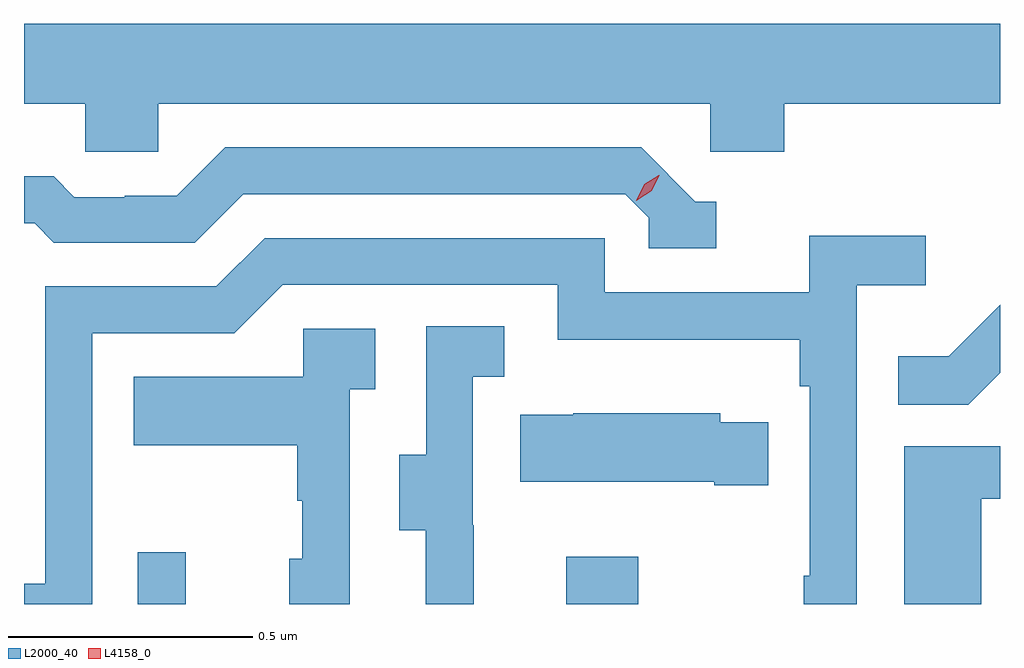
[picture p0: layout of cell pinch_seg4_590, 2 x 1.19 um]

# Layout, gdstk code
import gdstk
lib = gdstk.Library(unit=1e-6, precision=1e-09)
def R(c, l, rs):  # rectangles x0, y0, x1, y1
    for r in rs: c.add(gdstk.rectangle(r[:2], r[2:], *l))
def P(c, l, *ps):  # polygons
    for p in ps: c.add(gdstk.Polygon(p, *l))
L2000_40 = (2000, 40)
L4158_0 = (4158, 0)

pinch_seg4_590 = lib.new_cell('pinch_seg4_590')
R(pinch_seg4_590, L2000_40, [(1044.003,779.811,1044.101,779.917), (1044.881,779.811,1045.029,779.908)])
P(pinch_seg4_590, L2000_40, [(1044.045,780.836),(1045.176,780.836),(1045.176,780.738),(1045.328,780.738),(1045.328,780.836),(1045.77,780.836),(1045.77,781),(1043.77,781),(1043.77,780.836),(1043.895,780.836),(1043.895,780.738),(1044.045,780.738)],
  [(1045.189,780.636),(1045.146,780.636),(1045.035,780.747),(1044.182,780.747),(1044.083,780.648),(1043.976,780.648),(1043.976,780.645),(1043.873,780.645),(1043.831,780.688),(1043.77,780.688),(1043.77,780.591),(1043.792,780.591),(1043.831,780.552),(1044.12,780.552),(1044.219,780.651),(1045.002,780.651),(1045.05,780.603),(1045.05,780.54),(1045.189,780.54)],
  [(1043.91,780.366),(1044.201,780.366),(1044.3,780.465),(1044.864,780.465),(1044.864,780.353),(1045.36,780.353),(1045.36,780.257),(1045.38,780.257),(1045.38,779.869),(1045.368,779.869),(1045.368,779.811),(1045.476,779.811),(1045.476,780.464),(1045.618,780.464),(1045.618,780.566),(1045.379,780.566),(1045.379,780.45),(1044.96,780.45),(1044.96,780.561),(1044.263,780.561),(1044.164,780.462),(1043.814,780.462),(1043.814,779.853),(1043.77,779.853),(1043.77,779.811),(1043.91,779.811)],
  [(1045.77,780.285),(1045.77,780.424),(1045.665,780.319),(1045.561,780.319),(1045.561,780.22),(1045.705,780.22)],
  [(1044.692,779.973),(1044.69,779.973),(1044.69,780.277),(1044.754,780.277),(1044.754,780.38),(1044.594,780.38),(1044.594,780.117),(1044.539,780.117),(1044.539,779.962),(1044.593,779.962),(1044.593,779.811),(1044.692,779.811)],
  [(1044.438,780.251),(1044.49,780.251),(1044.49,780.375),(1044.342,780.375),(1044.342,780.277),(1043.995,780.277),(1043.995,780.137),(1044.33,780.137),(1044.33,780.023),(1044.34,780.023),(1044.34,779.904),(1044.314,779.904),(1044.314,779.811),(1044.438,779.811)],
  [(1045.295,780.184),(1045.197,780.184),(1045.197,780.202),(1044.895,780.202),(1044.895,780.199),(1044.787,780.199),(1044.787,780.062),(1045.184,780.062),(1045.184,780.055),(1045.295,780.055)],
  [(1045.732,780.027),(1045.77,780.027),(1045.77,780.135),(1045.574,780.135),(1045.574,779.811),(1045.732,779.811)])
P(pinch_seg4_590, L4158_0, [(1045.025,780.638),(1045.025,780.638),(1045.041,780.671),(1045.071,780.69),(1045.072,780.69),(1045.072,780.69),(1045.056,780.658),(1045.025,780.638)])

lib.write_gds('pinch_seg4_590.gds')
